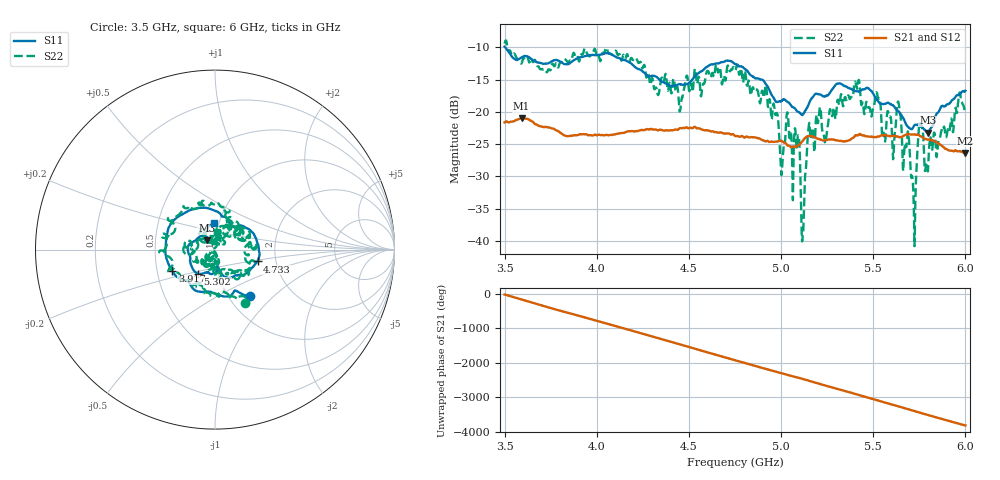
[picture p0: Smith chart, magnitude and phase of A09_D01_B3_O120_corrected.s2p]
! Created with skrf 1.9.0 (http://scikit-rf.org).
# Hz S RI R 50.0
!freq ReS11 ImS11 ReS21 ImS21 ReS12 ImS12 ReS22 ImS22
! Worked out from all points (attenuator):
!   1601 points, 3.5 GHz to 6 GHz, reference 50 ohm
!   highest |S21| = -20.97 dB at 3.592 GHz (marker M1); lowest = -26.3 dB at 6 GHz (marker M2)
!   lowest |S11| = -23.2 dB at 5.795 GHz (marker M3), VSWR 1.15, Z = 45.4 + j4.7 ohm
!   |S11| at or under -10 dB: 3.504 GHz to end of sweep
!   |S22| runs from -40.8 to -8.9 dB; largest |S21 - S12| = 0.0013
!   S11 on the Smith chart (normalised r, x): 3.5 GHz: 1.25, -0.71; 3.917 GHz: 0.60, -0.16; 4.733 GHz: 1.60, -0.22; 5.302 GHz: 0.80, -0.22; 6 GHz: 0.95, +0.28
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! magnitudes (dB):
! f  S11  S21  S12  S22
! 3.5 GHz  -9.9  -21.6  -21.6  -9.4
! 3.592 GHz  -11.6  -21.0  -21.0  -12.4
! 3.917 GHz  -11.5  -23.5  -23.5  -11.0
! 4.334 GHz  -14.8  -22.8  -22.8  -17.3
! 4.733 GHz  -12.2  -23.5  -23.5  -13.4
! 4.75 GHz  -12.6  -23.7  -23.7  -13.5
! 4.969 GHz  -18.3  -24.6  -24.6  -20.4
! 5.003 GHz  -18.3  -24.5  -24.5  -29.8
! 5.031 GHz  -18.4  -25.1  -25.0  -20.3
! 5.086 GHz  -19.9  -25.3  -25.3  -25.4
! 5.117 GHz  -20.4  -24.5  -24.5  -39.1
! 5.144 GHz  -19.2  -23.8  -23.7  -24.1
! 5.167 GHz  -17.9  -23.8  -23.8  -23.0
! 5.302 GHz  -15.6  -24.4  -24.4  -19.4
! 5.412 GHz  -16.8  -23.6  -23.7  -16.4
! 5.584 GHz  -18.6  -23.7  -23.7  -20.3
! 5.611 GHz  -19.1  -23.7  -23.6  -26.3
! 5.641 GHz  -20.0  -23.9  -23.9  -19.2
! 5.719 GHz  -22.3  -23.5  -23.5  -33.4
! 5.755 GHz  -21.8  -23.8  -23.7  -22.0
! 5.795 GHz  -23.2  -24.3  -24.3  -29.2
! 6 GHz  -16.7  -26.3  -26.3  -20.1
